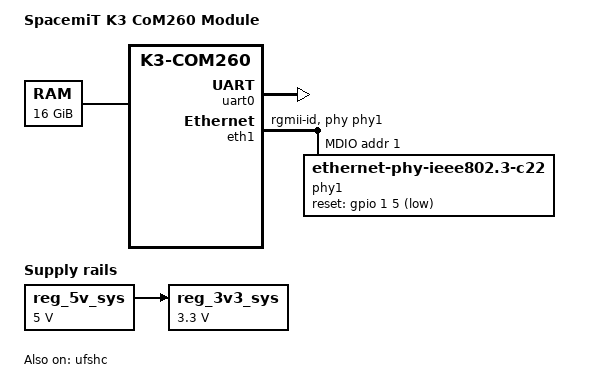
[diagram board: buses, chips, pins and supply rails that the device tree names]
// SPDX-License-Identifier: (GPL-2.0 OR MIT)
/*
 * SpacemiT K3-CoM260 module: K3, LPDDR5, UFS, RTL8211F Gigabit PHY, P1 PMIC.
 * Based on the upstream k3-com260.dtsi and the SpacemiT linux-6.18 BSP.
 */
#include <dt-bindings/gpio/gpio.h>

#include "k3.dtsi"
#include "k3-pinctrl.dtsi"

/ {
	model = "SpacemiT K3 CoM260 Module";
	compatible = "spacemit,k3-com260", "spacemit,k3";

	/* 8, 16 or 32 GB: U-Boot fixes the size up */
	memory@100000000 {
		device_type = "memory";
		reg = <0x1 0x00000000 0x4 0x00000000>;
	};

	reg_5v_sys: regulator-5v-sys {
		compatible = "regulator-fixed";
		regulator-name = "P5V0_SYS";
		regulator-min-microvolt = <5000000>;
		regulator-max-microvolt = <5000000>;
		regulator-always-on;
	};

	reg_3v3_sys: regulator-3v3-sys {
		compatible = "regulator-fixed";
		regulator-name = "P3V3_SYS";
		regulator-min-microvolt = <3300000>;
		regulator-max-microvolt = <3300000>;
		regulator-always-on;
		vin-supply = <&reg_5v_sys>;
	};
};

&pinctrl {
	gmac1_reset_cfg: gmac1-reset-cfg {
		gmac1-reset-pins {
			pinmux = <K3_PADCONF(37, 0)>;	/* phy reset gpio */

			bias-disable;
			drive-strength = <25>;
			power-source = <1800>;
		};
	};
};

&uart0 {
	pinctrl-names = "default";
	pinctrl-0 = <&uart0_0_cfg>;
	status = "okay";
};

&eth1 {
	pinctrl-names = "default";
	pinctrl-0 = <&gmac1_rgmii_0_cfg>, <&gmac1_phy_0_cfg>, <&gmac1_reset_cfg>;
	phy-mode = "rgmii-id";
	phy-handle = <&phy1>;
	status = "okay";

	mdio {
		phy1: phy@1 {
			compatible = "ethernet-phy-ieee802.3-c22";
			reg = <1>;
			reset-gpios = <&gpio 1 5 GPIO_ACTIVE_LOW>;
			reset-assert-us = <10000>;
			reset-deassert-us = <10000>;
		};
	};
};

/* No eMMC on the module: UFS is the boot storage */
&emmc {
	status = "disabled";
};

&ufshc {
	status = "okay";
};

/* The P1 PMIC is driven by the firmware (RPMI regulators), as in the BSP */
&i2c8 {
	pinctrl-names = "default";
	pinctrl-0 = <&i2c8_cfg>;
	status = "disabled";
};

&resmem {
	cmamem: linux,cma {
		compatible = "shared-dma-pool";
		reusable;
		size = <0x0 0x20000000>;
		alloc-ranges = <0x1 0x0 0x1 0x0>;
		linux,cma-default;
	};
};
